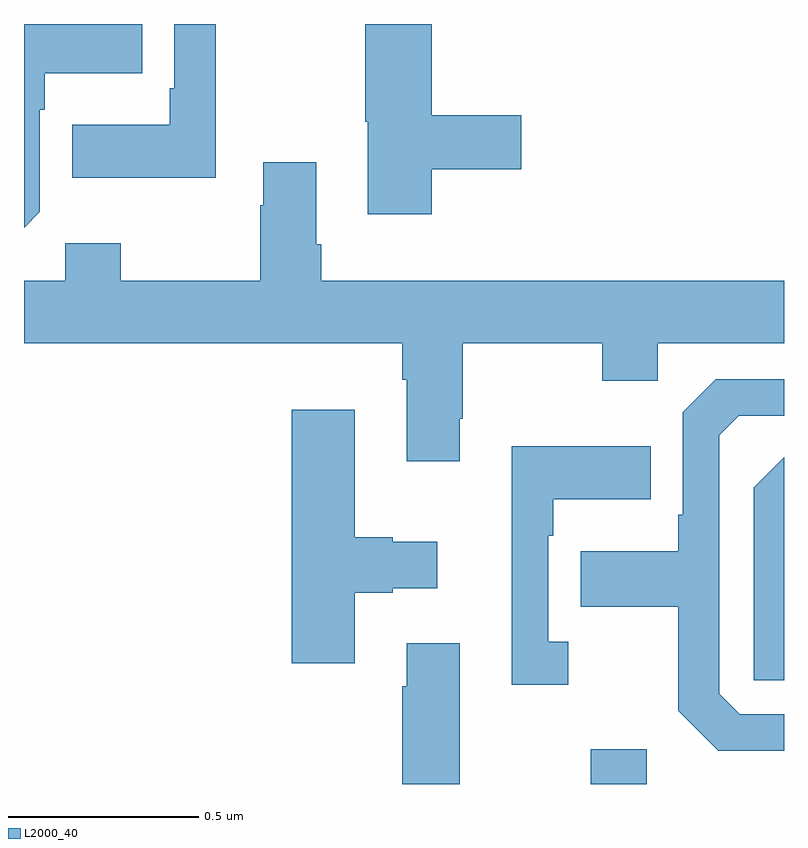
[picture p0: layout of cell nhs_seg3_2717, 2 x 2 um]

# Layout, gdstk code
import gdstk
lib = gdstk.Library(unit=1e-6, precision=1e-09)
def R(c, l, rs):  # rectangles x0, y0, x1, y1
    for r in rs: c.add(gdstk.rectangle(r[:2], r[2:], *l))
def P(c, l, *ps):  # polygons
    for p in ps: c.add(gdstk.Polygon(p, *l))
L2000_40 = (2000, 40)

nhs_seg3_2717 = lib.new_cell('nhs_seg3_2717')
R(nhs_seg3_2717, L2000_40, [(145.492,722.4,145.639,722.491)])
P(nhs_seg3_2717, L2000_40, [(144.042,723.906),(144.042,724.175),(144.055,724.175),(144.055,724.271),(144.311,724.271),(144.311,724.4),(144,724.4),(144,723.864)],
  [(144.505,724.4),(144.396,724.4),(144.396,724.231),(144.384,724.231),(144.384,724.135),(144.127,724.135),(144.127,723.995),(144.505,723.995)],
  [(145.073,724.018),(145.309,724.018),(145.309,724.16),(145.073,724.16),(145.073,724.4),(144.898,724.4),(144.898,724.143),(144.905,724.143),(144.905,723.9),(145.073,723.9)],
  [(145.147,723.361),(145.155,723.361),(145.155,723.56),(145.522,723.56),(145.522,723.461),(145.668,723.461),(145.668,723.56),(146,723.56),(146,723.724),(144.782,723.724),(144.782,723.82),(144.769,723.82),(144.769,724.036),(144.629,724.036),(144.629,723.923),(144.622,723.923),(144.622,723.724),(144.255,723.724),(144.255,723.823),(144.108,723.823),(144.108,723.724),(144,723.724),(144,723.56),(144.995,723.56),(144.995,723.464),(145.007,723.464),(145.007,723.249),(145.147,723.249)],
  [(146,722.583),(145.884,722.583),(145.83,722.637),(145.83,723.318),(145.881,723.369),(146,723.369),(146,723.465),(145.821,723.465),(145.734,723.378),(145.734,723.109),(145.722,723.109),(145.722,723.013),(145.465,723.013),(145.465,722.866),(145.722,722.866),(145.722,722.593),(145.827,722.487),(146,722.487)],
  [(144.871,722.903),(144.971,722.903),(144.971,722.915),(145.087,722.915),(145.087,723.037),(144.971,723.037),(144.971,723.05),(144.871,723.05),(144.871,723.385),(144.704,723.385),(144.704,722.718),(144.871,722.718)],
  [(145.432,722.774),(145.38,722.774),(145.38,723.053),(145.393,723.053),(145.393,723.149),(145.649,723.149),(145.649,723.289),(145.283,723.289),(145.283,722.661),(145.432,722.661)],
  [(146,723.26),(145.92,723.18),(145.92,722.673),(146,722.673)],
  [(145.147,722.77),(145.007,722.77),(145.007,722.657),(144.995,722.657),(144.995,722.4),(145.147,722.4)])

lib.write_gds('nhs_seg3_2717.gds')
